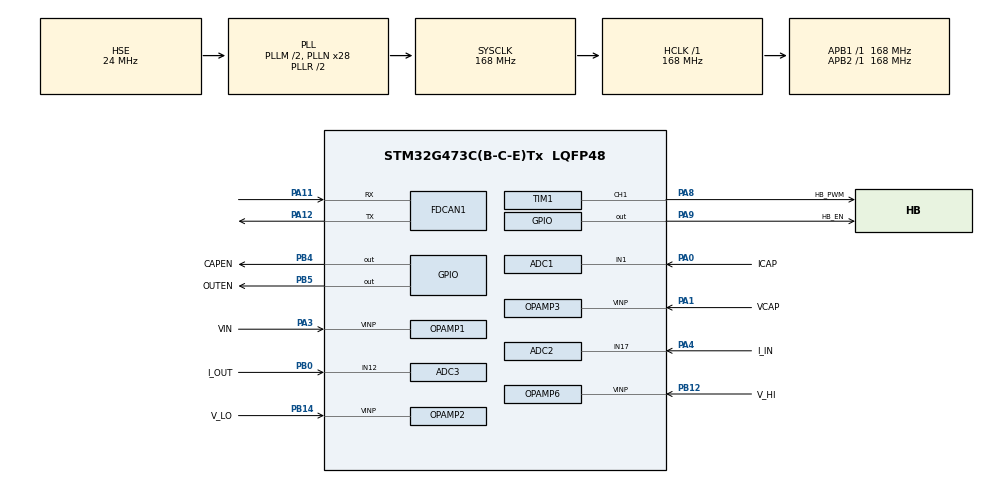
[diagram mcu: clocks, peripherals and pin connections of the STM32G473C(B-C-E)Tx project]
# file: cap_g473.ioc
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ADC1.EOCSelection=ADC_EOC_SEQ_CONV
ADC1.EnableInjectedConversion=ENABLE
ADC1.EnableInjectedOversampling=DISABLE
ADC1.EnableRegularConversion=DISABLE
ADC1.ExternalTrigInjecConv=ADC_EXTERNALTRIGINJEC_T1_CC4
ADC1.ExternalTrigInjecConvEdge=ADC_EXTERNALTRIGINJECCONV_EDGE_RISING
ADC1.InjNumberOfConversion=2
ADC1.InjectedChannel-1\#ChannelInjectedConversion=ADC_CHANNEL_1
ADC1.InjectedChannel-2\#ChannelInjectedConversion=ADC_CHANNEL_VOPAMP1
ADC1.InjectedConvMode=Discontinuous
ADC1.InjectedOffsetNumber-1\#ChannelInjectedConversion=ADC_OFFSET_NONE
ADC1.InjectedOffsetNumber-2\#ChannelInjectedConversion=ADC_OFFSET_NONE
ADC1.InjectedRank-1\#ChannelInjectedConversion=1
ADC1.InjectedRank-2\#ChannelInjectedConversion=2
ADC1.InjectedSamplingTime-1\#ChannelInjectedConversion=ADC_SAMPLETIME_24CYCLES_5
ADC1.InjectedSamplingTime-2\#ChannelInjectedConversion=ADC_SAMPLETIME_24CYCLES_5
ADC1.Overrun=ADC_OVR_DATA_OVERWRITTEN
ADC1.Rank1_Channel=ADC_CHANNEL_1
ADC1.Rank2_Channel=ADC_CHANNEL_VOPAMP1
ADC1.master=1
ADC2.EOCSelection=ADC_EOC_SEQ_CONV
ADC2.EnableInjectedConversion=ENABLE
ADC2.EnableInjectedOversampling=DISABLE
ADC2.EnableRegularConversion=DISABLE
ADC2.ExternalTrigInjecConv=ADC_EXTERNALTRIGINJEC_T1_CC4
ADC2.ExternalTrigInjecConvEdge=ADC_EXTERNALTRIGINJECCONV_EDGE_RISING
ADC2.InjNumberOfConversion=2
ADC2.InjectedChannel-1\#ChannelInjectedConversion=ADC_CHANNEL_17
ADC2.InjectedChannel-2\#ChannelInjectedConversion=ADC_CHANNEL_VOPAMP2
ADC2.InjectedConvMode=Discontinuous
ADC2.InjectedOffsetNumber-1\#ChannelInjectedConversion=ADC_OFFSET_NONE
ADC2.InjectedOffsetNumber-2\#ChannelInjectedConversion=ADC_OFFSET_NONE
ADC2.InjectedRank-1\#ChannelInjectedConversion=1
ADC2.InjectedRank-2\#ChannelInjectedConversion=2
ADC2.InjectedSamplingTime-1\#ChannelInjectedConversion=ADC_SAMPLETIME_24CYCLES_5
ADC2.InjectedSamplingTime-2\#ChannelInjectedConversion=ADC_SAMPLETIME_24CYCLES_5
ADC2.Overrun=ADC_OVR_DATA_OVERWRITTEN
ADC2.Rank1_Channel=ADC_CHANNEL_17
ADC2.Rank2_Channel=ADC_CHANNEL_VOPAMP2
ADC3.EOCSelection=ADC_EOC_SEQ_CONV
ADC3.EnableInjectedConversion=ENABLE
ADC3.EnableInjectedOversampling=DISABLE
ADC3.EnableRegularConversion=DISABLE
ADC3.ExternalTrigInjecConv=ADC_EXTERNALTRIGINJEC_T1_CC4
ADC3.ExternalTrigInjecConvEdge=ADC_EXTERNALTRIGINJECCONV_EDGE_RISING
ADC3.InjNumberOfConversion=2
ADC3.InjectedChannel-1\#ChannelInjectedConversion=ADC_CHANNEL_12
ADC3.InjectedChannel-2\#ChannelInjectedConversion=ADC_CHANNEL_VOPAMP3_ADC3
ADC3.InjectedConvMode=Discontinuous
ADC3.InjectedOffsetNumber-1\#ChannelInjectedConversion=ADC_OFFSET_NONE
ADC3.InjectedOffsetNumber-2\#ChannelInjectedConversion=ADC_OFFSET_NONE
ADC3.InjectedRank-1\#ChannelInjectedConversion=1
ADC3.InjectedRank-2\#ChannelInjectedConversion=2
ADC3.InjectedSamplingTime-1\#ChannelInjectedConversion=ADC_SAMPLETIME_24CYCLES_5
ADC3.InjectedSamplingTime-2\#ChannelInjectedConversion=ADC_SAMPLETIME_24CYCLES_5
ADC3.Overrun=ADC_OVR_DATA_OVERWRITTEN
ADC3.Rank1_Channel=ADC_CHANNEL_12
ADC3.Rank2_Channel=ADC_CHANNEL_VOPAMP3_ADC3
ADC3.master=1
ADC4.EOCSelection=ADC_EOC_SEQ_CONV
ADC4.EnableInjectedConversion=ENABLE
ADC4.EnableRegularConversion=DISABLE
ADC4.ExternalTrigInjecConv=ADC_EXTERNALTRIGINJEC_T1_CC4
ADC4.ExternalTrigInjecConvEdge=ADC_EXTERNALTRIGINJECCONV_EDGE_RISING
ADC4.InjNumberOfConversion=2
ADC4.InjectedChannel-1\#ChannelInjectedConversion=ADC_CHANNEL_VREFINT
ADC4.InjectedChannel-2\#ChannelInjectedConversion=ADC_CHANNEL_VOPAMP6
ADC4.InjectedConvMode=Discontinuous
ADC4.InjectedOffsetNumber-1\#ChannelInjectedConversion=ADC_OFFSET_NONE
ADC4.InjectedOffsetNumber-2\#ChannelInjectedConversion=ADC_OFFSET_NONE
ADC4.InjectedRank-1\#ChannelInjectedConversion=1
ADC4.InjectedRank-2\#ChannelInjectedConversion=2
ADC4.InjectedSamplingTime-1\#ChannelInjectedConversion=ADC_SAMPLETIME_24CYCLES_5
ADC4.InjectedSamplingTime-2\#ChannelInjectedConversion=ADC_SAMPLETIME_24CYCLES_5
ADC4.Overrun=ADC_OVR_DATA_OVERWRITTEN
ADC4.Rank1_Channel=ADC_CHANNEL_VREFINT
ADC4.Rank2_Channel=ADC_CHANNEL_VOPAMP6
FDCAN1.CalculateBaudRateNominal=1000000
FDCAN1.CalculateTimeBitNominal=1000
FDCAN1.CalculateTimeQuantumNominal=71.42857142857143
FDCAN1.DataPrescaler=12
FDCAN1.DataTimeSeg1=7
FDCAN1.DataTimeSeg2=6
FDCAN1.FrameFormat=FDCAN_FRAME_FD_NO_BRS
FDCAN1.NominalPrescaler=12
FDCAN1.NominalTimeSeg1=7
FDCAN1.NominalTimeSeg2=6
Mcu.Family=STM32G4
Mcu.Name=STM32G473C(B-C-E)Tx
Mcu.Package=LQFP48
NVIC.PriorityGroup=NVIC_PRIORITYGROUP_4
NVIC.TIM1_CC_IRQn=true\:0\:0\:false\:false\:true\:true\:true\:true
NVIC.TIM2_IRQn=true\:0\:0\:false\:false\:true\:true\:true\:true
NVIC.TIM6_DAC_IRQn=true\:15\:0\:false\:false\:true\:false\:true\:true
NVIC.TIM7_DAC_IRQn=true\:0\:0\:false\:false\:true\:true\:true\:true
NVIC.TimeBase=TIM6_DAC_IRQn
NVIC.TimeBaseIP=TIM6
OPAMP1.PowerMode=OPAMP_POWERMODE_HIGHSPEED
OPAMP1.SelfCalibration=Enable
OPAMP2.PowerMode=OPAMP_POWERMODE_HIGHSPEED
PA0.GPIO_Label=ICAP
PA0.Mode=IN1-Single-Ended
PA0.Signal=ADC1_IN1
PA1.GPIO_Label=VCAP
PA1.Mode=Follower_Internally_Connected
PA1.Signal=OPAMP3_VINP
PA11.Mode=FDCAN_Activate
PA11.Signal=FDCAN1_RX
PA12.Mode=FDCAN_Activate
PA12.Signal=FDCAN1_TX
PA13.Mode=Serial_Wire
PA13.Signal=SYS_JTMS-SWDIO
PA14.Mode=Serial_Wire
PA14.Signal=SYS_JTCK-SWCLK
PA3.GPIO_Label=VIN
PA3.Mode=Follower_Internally_Connected
PA3.Signal=OPAMP1_VINP
PA4.GPIO_Label=I_IN
PA4.Mode=IN17-Single-Ended
PA4.Signal=ADC2_IN17
PA8.GPIO_Label=HB_PWM
PA8.Signal=S_TIM1_CH1
PA9.GPIO_Label=HB_EN
PA9.GPIO_PuPd=GPIO_PULLDOWN
PA9.GPIO_Speed=GPIO_SPEED_FREQ_VERY_HIGH
PA9.Signal=GPIO_Output
PB0.GPIO_Label=I_OUT
PB0.Mode=IN12-Single-Ended
PB0.Signal=ADC3_IN12
PB12.GPIO_Label=V_HI
PB12.Mode=Follower_Internally_Connected
PB12.Signal=OPAMP6_VINP
PB14.GPIO_Label=V_LO
PB14.Mode=Follower_Internally_Connected
PB14.Signal=OPAMP2_VINP
PB4.GPIO_Label=CAPEN
PB4.GPIO_PuPd=GPIO_PULLDOWN
PB4.GPIO_Speed=GPIO_SPEED_FREQ_HIGH
PB4.Signal=GPIO_Output
PB5.GPIO_Label=OUTEN
PB5.GPIO_PuPd=GPIO_PULLDOWN
PB5.GPIO_Speed=GPIO_SPEED_FREQ_HIGH
PB5.PinState=GPIO_PIN_RESET
PB5.Signal=GPIO_Output
PF0-OSC_IN.Mode=HSE-External-Clock-Source
PF0-OSC_IN.Signal=RCC_OSC_IN
ProjectManager.HeapSize=0x200
ProjectManager.StackSize=0x400
ProjectManager.TargetToolchain=MDK-ARM V5.32
RCC.ADC12Freq_Value=168000000
RCC.ADC345Freq_Value=168000000
RCC.AHBFreq_Value=168000000
RCC.APB1Freq_Value=168000000
RCC.APB1TimFreq_Value=168000000
RCC.APB2Freq_Value=168000000
RCC.APB2TimFreq_Value=168000000
RCC.CortexFreq_Value=168000000
RCC.EXTERNAL_CLOCK_VALUE=12288000
RCC.EnbaleCSS=true
RCC.HCLKFreq_Value=168000000
RCC.HSE_VALUE=24000000
RCC.HSI48_VALUE=48000000
RCC.HSI_VALUE=16000000
RCC.LSE_VALUE=32768
RCC.PLLM=RCC_PLLM_DIV2
RCC.PLLN=28
RCC.PLLSourceVirtual=RCC_PLLSOURCE_HSE
RCC.SYSCLKFreq_VALUE=168000000
RCC.SYSCLKSource=RCC_SYSCLKSOURCE_PLLCLK
RCC.USBFreq_Value=168000000
RCC.VCOOutputFreq_Value=336000000
SH.S_TIM1_CH1.0=TIM1_CH1,PWM Generation1 CH1
TIM1.Channel-PWM\ Generation1\ CH1=TIM_CHANNEL_1
TIM1.Channel-PWM\ Generation3\ No\ Output=TIM_CHANNEL_3
TIM1.Channel-PWM\ Generation4\ No\ Output=TIM_CHANNEL_4
TIM1.CounterMode=TIM_COUNTERMODE_UP
TIM1.Dithering=Disable
TIM1.OC1Preload_PWM=DISABLE
TIM1.OC4Preload_PWM=ENABLE
TIM1.PeriodNoDither=1680-1
TIM1.PulseNoDither_1=840
TIM1.PulseNoDither_3=960
TIM1.PulseNoDither_4=420
TIM1.RepetitionCounter=0
TIM1.TIM_MasterOutputTrigger=TIM_TRGO_RESET
TIM1.TIM_MasterSlaveMode=TIM_MASTERSLAVEMODE_DISABLE
TIM2.AutoReloadPreload=TIM_AUTORELOAD_PRELOAD_ENABLE
TIM2.PeriodNoDither=9
TIM2.Prescaler=1679
TIM7.AutoReloadPreload=TIM_AUTORELOAD_PRELOAD_ENABLE
TIM7.PeriodNoDither=99
TIM7.Prescaler=167
VP_ADC1_OPAMP_INTERNAL1.Mode=IN-OPAMP1
VP_ADC2_OPAMP_INTERNAL2.Mode=IN-OPAMP2
VP_ADC3_OPAMP_INTERNAL3.Mode=IN-OPAMP3
VP_ADC4_OPAMP_INTERNAL6.Mode=IN-OPAMP6
VP_ADC4_Vref_Input.Mode=IN-Vrefint
VP_SYS_VS_DBSignals.Mode=DisableDeadBatterySignals
VP_SYS_VS_tim6.Mode=TIM6
VP_TIM1_VS_no_output3.Mode=PWM Generation3 No Output
VP_TIM1_VS_no_output4.Mode=PWM Generation4 No Output
VP_TIM2_VS_ClockSourceINT.Mode=Internal
VP_TIM7_VS_ClockSourceINT.Mode=Enable_Timer
board=custom

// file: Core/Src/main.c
/* USER CODE BEGIN Header */
/**
  ******************************************************************************
  * @file           : main.c
  * @brief          : Main program body
  ******************************************************************************
  * @attention
  *
  * Copyright (c) 2024 STMicroelectronics.
  * All rights reserved.
  *
  * This software is licensed under terms that can be found in the LICENSE file
  * in the root directory of this software component.
  * If no LICENSE file comes with this software, it is provided AS-IS.
  *
  ******************************************************************************
  */
/* USER CODE END Header */
#include "main.h"
#include "adc.h"
#include "fdcan.h"
#include "opamp.h"
#include "tim.h"
#include "gpio.h"

/* USER CODE BEGIN Includes */
#include "sensor.h"
/* USER CODE END Includes */

/* USER CODE BEGIN PV */

struct CanConfig can_config;
struct MasterCmd master_cmd;
struct CapacityStatus cap_status;
/* USER CODE END PV */

void SystemClock_Config(void);
/* USER CODE BEGIN PFP */
void FDCAN_Init(void);
/* USER CODE END PFP */

int main(void)
{

  /* MCU Configuration--------------------------------------------------------*/

  /* Reset of all peripherals, Initializes the Flash interface and the Systick. */
  HAL_Init();

  /* Configure the system clock */
  SystemClock_Config();

  /* Initialize all configured peripherals */
  MX_GPIO_Init();
  MX_ADC1_Init();
  MX_ADC2_Init();
  MX_ADC3_Init();
  MX_ADC4_Init();
  MX_OPAMP1_Init();
  MX_OPAMP2_Init();
  MX_OPAMP3_Init();
  MX_OPAMP6_Init();
  MX_TIM1_Init();
  MX_FDCAN1_Init();
  MX_TIM7_Init();
  MX_TIM2_Init();
  /* USER CODE BEGIN 2 */

  HAL_GPIO_WritePin(CAPEN_GPIO_Port, CAPEN_Pin, GPIO_PIN_RESET);
  HAL_GPIO_WritePin(HB_EN_GPIO_Port, HB_EN_Pin, GPIO_PIN_RESET);
  HAL_GPIO_WritePin(OUTEN_GPIO_Port, OUTEN_Pin, GPIO_PIN_SET);
  // Init PWM and ADC Trigger Source
	HAL_ADCEx_Calibration_Start(&hadc1, ADC_SINGLE_ENDED);
	HAL_ADCEx_Calibration_Start(&hadc2, ADC_SINGLE_ENDED);
	HAL_ADCEx_Calibration_Start(&hadc3, ADC_SINGLE_ENDED);
	HAL_ADCEx_Calibration_Start(&hadc4, ADC_SINGLE_ENDED);
	HAL_OPAMP_Start(&hopamp1);
	HAL_OPAMP_Start(&hopamp2);
	HAL_OPAMP_Start(&hopamp3);
	HAL_OPAMP_Start(&hopamp6);
	HAL_ADCEx_InjectedStart(&hadc1);
	HAL_ADCEx_InjectedStart(&hadc2);
	HAL_ADCEx_InjectedStart(&hadc3);
	HAL_ADCEx_InjectedStart(&hadc4);
  HAL_TIM_PWM_Start(&htim1, TIM_CHANNEL_1);
  HAL_TIM_PWM_Start(&htim1, TIM_CHANNEL_4);
	HAL_TIM_PWM_Start(&htim1, TIM_CHANNEL_3);
	__HAL_TIM_ENABLE_IT(&htim1, TIM_IT_CC3);

  HAL_Delay(1000);
  // Init
  HAL_GPIO_WritePin(HB_EN_GPIO_Port, HB_EN_Pin, GPIO_PIN_SET);
	// Init FDCAN
	FDCAN_Init();
	cap_status.TotalEnergy = 0;
  HAL_Delay(1000);
	HAL_TIM_Base_Start(&htim7);
	__HAL_TIM_ENABLE_IT(&htim7, TIM_IT_UPDATE);
	HAL_TIM_Base_Start(&htim2);
	__HAL_TIM_ENABLE_IT(&htim2, TIM_IT_UPDATE);

  /* USER CODE END 2 */

  /* Infinite loop */
  while (1)
  {

  }
}

void SystemClock_Config(void)
{
  RCC_OscInitTypeDef RCC_OscInitStruct = {0};
  RCC_ClkInitTypeDef RCC_ClkInitStruct = {0};

  /** Configure the main internal regulator output voltage
  */
  HAL_PWREx_ControlVoltageScaling(PWR_REGULATOR_VOLTAGE_SCALE1_BOOST);

  /** Initializes the RCC Oscillators according to the specified parameters
  * in the RCC_OscInitTypeDef structure.
  */
  RCC_OscInitStruct.OscillatorType = RCC_OSCILLATORTYPE_HSE;
  RCC_OscInitStruct.HSEState = RCC_HSE_BYPASS;
  RCC_OscInitStruct.PLL.PLLState = RCC_PLL_ON;
  RCC_OscInitStruct.PLL.PLLSource = RCC_PLLSOURCE_HSE;
  RCC_OscInitStruct.PLL.PLLM = RCC_PLLM_DIV2;
  RCC_OscInitStruct.PLL.PLLN = 28;
  RCC_OscInitStruct.PLL.PLLP = RCC_PLLP_DIV2;
  RCC_OscInitStruct.PLL.PLLQ = RCC_PLLQ_DIV2;
  RCC_OscInitStruct.PLL.PLLR = RCC_PLLR_DIV2;
  if (HAL_RCC_OscConfig(&RCC_OscInitStruct) != HAL_OK)
  {
    Error_Handler();
  }

  /** Initializes the CPU, AHB and APB buses clocks
  */
  RCC_ClkInitStruct.ClockType = RCC_CLOCKTYPE_HCLK|RCC_CLOCKTYPE_SYSCLK
                              |RCC_CLOCKTYPE_PCLK1|RCC_CLOCKTYPE_PCLK2;
  RCC_ClkInitStruct.SYSCLKSource = RCC_SYSCLKSOURCE_PLLCLK;
  RCC_ClkInitStruct.AHBCLKDivider = RCC_SYSCLK_DIV1;
  RCC_ClkInitStruct.APB1CLKDivider = RCC_HCLK_DIV1;
  RCC_ClkInitStruct.APB2CLKDivider = RCC_HCLK_DIV1;

  if (HAL_RCC_ClockConfig(&RCC_ClkInitStruct, FLASH_LATENCY_4) != HAL_OK)
  {
    Error_Handler();
  }

  /** Enables the Clock Security System
  */
  HAL_RCC_EnableCSS();
}

/* USER CODE BEGIN 4 */

void
FDCAN_Init(void)
{
	FDCAN_FilterTypeDef f = {
			.IdType = FDCAN_STANDARD_ID,
			.FilterIndex = 0,
			.FilterType = FDCAN_FILTER_RANGE,
			.FilterConfig = FDCAN_FILTER_TO_RXFIFO0,
			.FilterID1 = 0x000,
			.FilterID2 = 0x7FF,
	};

	can_config.tx_header.Identifier = ID_CAPACITY_STATUS;
	can_config.tx_header.IdType = FDCAN_STANDARD_ID;
	can_config.tx_header.TxFrameType = FDCAN_DATA_FRAME;
	can_config.tx_header.DataLength = FDCAN_DLC_BYTES_8;

	if (HAL_FDCAN_ConfigFilter(&hfdcan1, &f) != HAL_OK) {
		Error_Handler();
	}
	HAL_FDCAN_Start(&hfdcan1);
}
/* USER CODE END 4 */

void HAL_TIM_PeriodElapsedCallback(TIM_HandleTypeDef *htim)
{
  if (htim->Instance == TIM6) {
    HAL_IncTick();
  }
}

void Error_Handler(void)
{
  __disable_irq();
  while (1)
  {
  }
}
